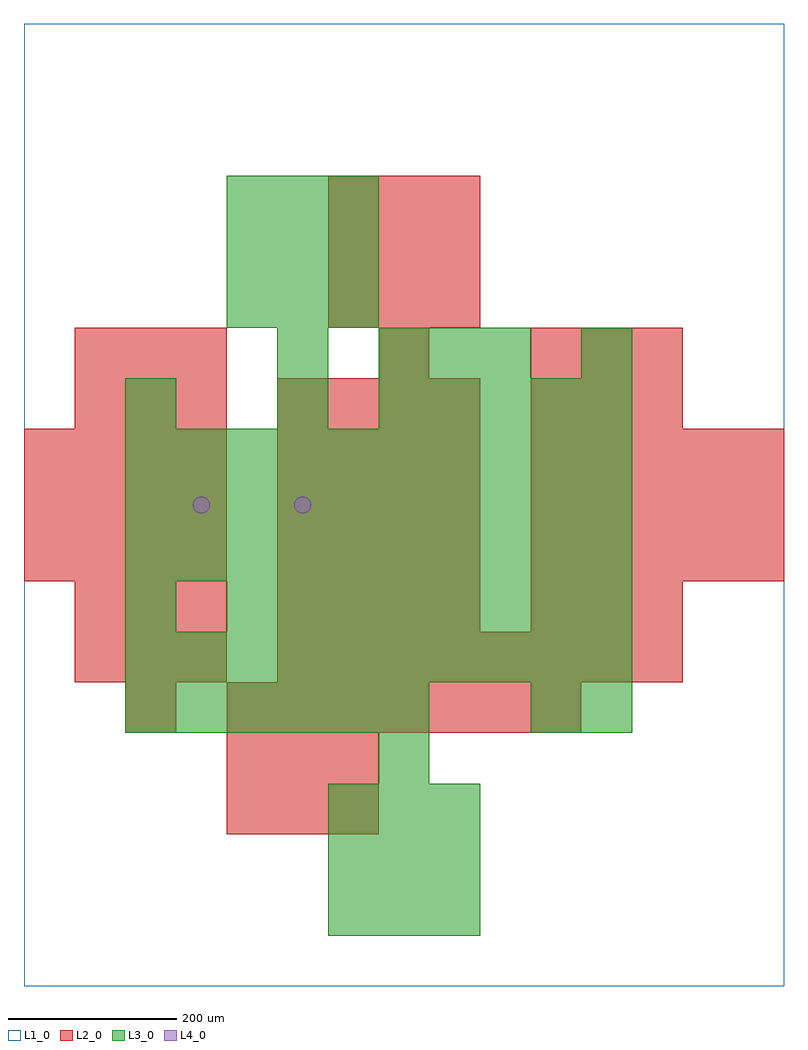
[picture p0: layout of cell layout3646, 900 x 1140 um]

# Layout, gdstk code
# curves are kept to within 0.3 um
import gdstk
lib = gdstk.Library(unit=1e-6, precision=1e-09)
def R(c, l, rs):  # rectangles x0, y0, x1, y1
    for r in rs: c.add(gdstk.rectangle(r[:2], r[2:], *l))
def A(c, l, x, y, w, h, nx, ny, dx, dy):  # array of equal rectangles
    R(c, l, [(x+i*dx, y+j*dy, x+i*dx+w, y+j*dy+h) for i in range(nx) for j in range(ny)])
def P(c, l, *ps):  # polygons
    for p in ps: c.add(gdstk.Polygon(p, *l))
L1_0 = (1, 0)
L2_0 = (2, 0)
L3_0 = (3, 0)
L4_0 = (4, 0)

layout3646 = lib.new_cell('layout3646')
R(layout3646, L1_0, [(0,0,900,1140)])
A(layout3646, L2_0, 240, 180, 60, 60, 3, 2, 60, 60)
A(layout3646, L2_0, 240, 300, 60, 60, 7, 1, 60, 0)
A(layout3646, L2_0, 60, 360, 60, 60, 3, 2, 60, 60)
A(layout3646, L2_0, 300, 360, 60, 60, 8, 1, 60, 0)
A(layout3646, L2_0, 300, 420, 60, 60, 4, 5, 60, 60)
A(layout3646, L2_0, 600, 420, 60, 60, 3, 2, 60, 240)
A(layout3646, L2_0, 0, 480, 60, 60, 4, 3, 60, 60)
A(layout3646, L2_0, 600, 480, 60, 60, 5, 3, 60, 60)
A(layout3646, L2_0, 60, 660, 60, 60, 3, 2, 60, 60)
A(layout3646, L2_0, 600, 720, 60, 60, 3, 1, 60, 0)
A(layout3646, L2_0, 360, 780, 60, 60, 3, 3, 60, 60)
R(layout3646, L2_0, [(120,300,180,360), (420,720,480,780)])
A(layout3646, L3_0, 360, 60, 60, 60, 3, 3, 60, 60)
A(layout3646, L3_0, 120, 300, 60, 60, 6, 1, 60, 0)
A(layout3646, L3_0, 120, 360, 60, 60, 10, 2, 60, 120)
A(layout3646, L3_0, 240, 420, 60, 60, 8, 1, 60, 0)
A(layout3646, L3_0, 120, 540, 60, 60, 10, 2, 60, 60)
A(layout3646, L3_0, 420, 660, 60, 60, 5, 1, 60, 0)
A(layout3646, L3_0, 420, 720, 60, 60, 3, 1, 60, 0)
A(layout3646, L3_0, 240, 780, 60, 60, 3, 3, 60, 60)
R(layout3646, L3_0, [(420,240,480,300), (600,300,660,360), (660,300,720,360), (120,420,180,480), (120,660,180,720), (300,660,360,720), (300,720,360,780), (660,720,720,780)])
P(layout3646, L4_0, [(220,570),(219.239,573.827),(217.071,577.071),(213.827,579.239),(210,580),(206.173,579.239),(202.929,577.071),(200.761,573.827),(200,570),(200.761,566.173),(202.929,562.929),(206.173,560.761),(210,560),(213.827,560.761),(217.071,562.929),(219.239,566.173)],
  [(340,570),(339.239,573.827),(337.071,577.071),(333.827,579.239),(330,580),(326.173,579.239),(322.929,577.071),(320.761,573.827),(320,570),(320.761,566.173),(322.929,562.929),(326.173,560.761),(330,560),(333.827,560.761),(337.071,562.929),(339.239,566.173)])

lib.write_gds('layout3646.gds')
